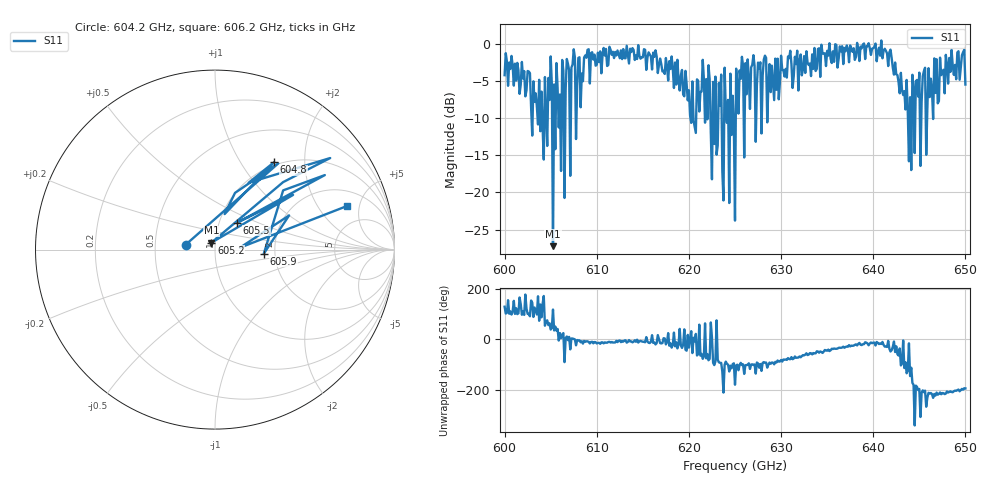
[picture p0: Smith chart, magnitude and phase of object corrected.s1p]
!Created with skrf (http://scikit-rf.org).
# GHz S MA R 50.0
!freq magS11 angS11
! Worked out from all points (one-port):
!   401 points, 600 GHz to 650 GHz, reference 50 ohm
!   lowest |S11| = -27.2 dB at 605.2 GHz (marker M1), VSWR 1.09, Z = 47.9 + j3.71 ohm
!   |S11| at or under -10 dB: 604.0899 GHz to 604.313 GHz (223.1 MHz wide, 0.0369 % of centre); 620.4919 GHz to 620.7849 GHz (293 MHz wide, 0.0472 % of centre); 622.3408 GHz to 622.5787 GHz (237.8 MHz wide, 0.0382 % of centre)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
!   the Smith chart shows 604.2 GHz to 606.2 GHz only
!   S11 on the Smith chart (normalised r, x): 604.2 GHz: 0.72, +0.04; 604.8 GHz: 0.95, +1.42; 605.2 GHz: 0.96, +0.07; 605.5 GHz: 1.22, +0.38; 605.9 GHz: 1.74, -0.09; 606.2 GHz: 3.10, +3.79
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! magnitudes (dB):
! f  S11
! 600 GHz  -4.3
! 602.5 GHz  -3.7
! 604.2 GHz  -15.6
! 604.4 GHz  -4.5
! 604.8 GHz  -4.6
! 605.2 GHz  -27.2
! 605.5 GHz  -14.2
! 605.6 GHz  -2.6
! 605.9 GHz  -11.3
! 606.2 GHz  -2.2
! 606.5 GHz  -20.8
! 607.5 GHz  -0.8
! 608 GHz  -1.9
! 608.9 GHz  -1.9
! 612.5 GHz  -2.0
! 618.8 GHz  -2.2
! 620.5 GHz  -10.3
! 621.6 GHz  -4.8
! 622.8 GHz  -13.5
! 625 GHz  -23.8
! 625.6 GHz  -4.8
! 626.2 GHz  -6.8
! 631.2 GHz  -6.0
! 637.5 GHz  -0.3
! 641.6 GHz  -3.0
! 643.8 GHz  -9.2
! 648.2 GHz  -1.9
! 650 GHz  -5.5
